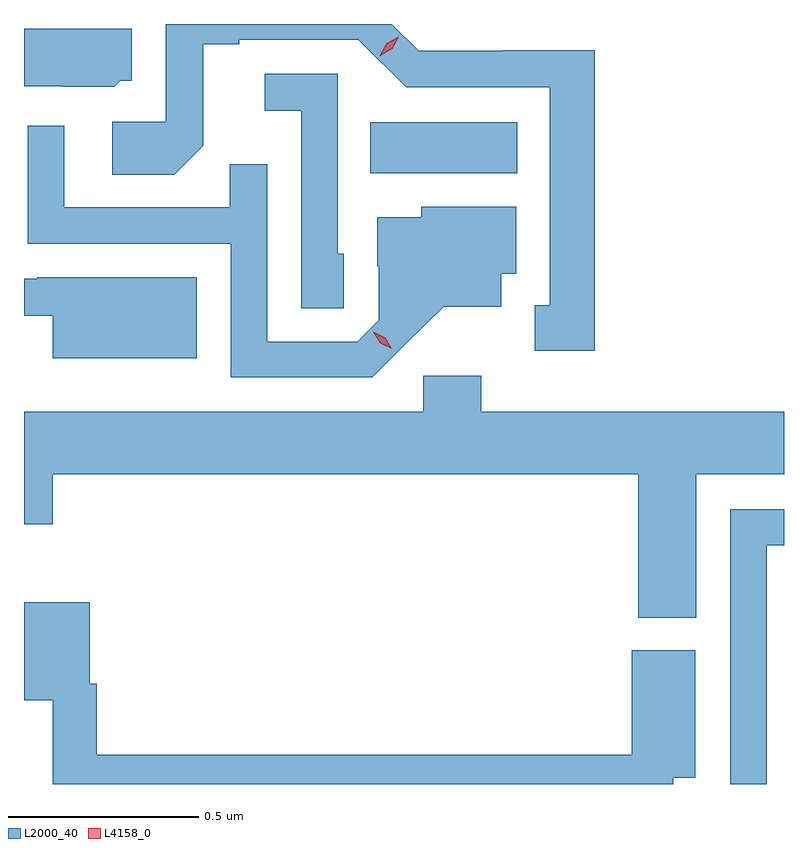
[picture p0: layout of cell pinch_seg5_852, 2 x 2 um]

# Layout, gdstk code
import gdstk
lib = gdstk.Library(unit=1e-6, precision=1e-09)
def R(c, l, rs):  # rectangles x0, y0, x1, y1
    for r in rs: c.add(gdstk.rectangle(r[:2], r[2:], *l))
def P(c, l, *ps):  # polygons
    for p in ps: c.add(gdstk.Polygon(p, *l))
L2000_40 = (2000, 40)
L4158_0 = (4158, 0)

pinch_seg5_852 = lib.new_cell('pinch_seg5_852')
R(pinch_seg5_852, L2000_40, [(790.936,890.852,791.323,890.986)])
P(pinch_seg5_852, L2000_40, [(791.527,891.176),(791.286,891.176),(791.286,891.174),(791.064,891.174),(790.993,891.245),(790.398,891.245),(790.398,890.988),(790.257,890.988),(790.257,890.848),(790.421,890.848),(790.497,890.924),(790.497,891.192),(790.591,891.192),(790.591,891.204),(790.905,891.204),(791.031,891.078),(791.408,891.078),(791.408,890.505),(791.369,890.505),(791.369,890.385),(791.527,890.385)],
  [(790.278,891.096),(790.309,891.096),(790.309,891.232),(790.025,891.232),(790.025,891.081),(790.128,891.081),(790.128,891.08),(790.262,891.08)],
  [(790.866,890.64),(790.851,890.64),(790.851,891.114),(790.659,891.114),(790.659,891.017),(790.755,891.017),(790.755,890.497),(790.866,890.497)],
  [(791.026,890.399),(791.129,890.501),(791.281,890.501),(791.281,890.588),(791.32,890.588),(791.32,890.764),(791.07,890.764),(791.07,890.737),(790.955,890.737),(790.955,890.608),(790.959,890.608),(790.959,890.466),(790.902,890.409),(790.665,890.409),(790.665,890.876),(790.567,890.876),(790.567,890.763),(790.131,890.763),(790.131,890.977),(790.035,890.977),(790.035,890.667),(790.569,890.667),(790.569,890.316),(790.942,890.316)],
  [(790.48,890.578),(790.06,890.578),(790.06,890.574),(790.025,890.574),(790.025,890.477),(790.1,890.477),(790.1,890.366),(790.48,890.366)],
  [(791.794,890.06),(792.025,890.06),(792.025,890.224),(791.228,890.224),(791.228,890.32),(791.076,890.32),(791.076,890.224),(790.025,890.224),(790.025,889.929),(790.1,889.929),(790.1,890.06),(791.642,890.06),(791.642,889.682),(791.794,889.682)],
  [(791.979,889.873),(792.025,889.873),(792.025,889.968),(791.883,889.968),(791.883,889.245),(791.979,889.245)],
  [(791.734,889.262),(791.791,889.262),(791.791,889.597),(791.624,889.597),(791.624,889.322),(790.217,889.322),(790.217,889.509),(790.198,889.509),(790.198,889.723),(790.025,889.723),(790.025,889.466),(790.1,889.466),(790.1,889.245),(791.734,889.245)])
P(pinch_seg5_852, L4158_0, [(790.961,891.161),(790.961,891.161),(790.979,891.194),(791.011,891.212),(791.011,891.212),(791.011,891.212),(790.994,891.18),(790.962,891.161)],
  [(790.993,890.39),(790.962,890.405),(790.944,890.435),(790.944,890.435),(790.944,890.435),(790.975,890.42),(790.993,890.39),(790.993,890.39)])

lib.write_gds('pinch_seg5_852.gds')
